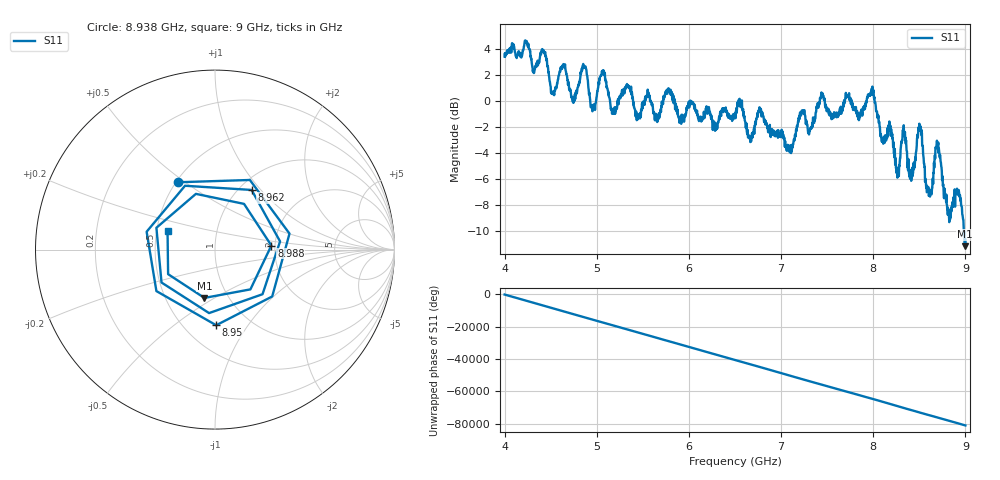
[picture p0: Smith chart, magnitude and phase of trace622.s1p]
! Created with skrf 1.8.0 (http://scikit-rf.org).
# Hz S RI R 50.0
!freq ReS11 ImS11
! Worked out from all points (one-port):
!   1601 points, 4 GHz to 9 GHz, reference 50 ohm
!   lowest |S11| = -11.2 dB at 8.994 GHz (marker M1), VSWR 1.76, Z = 38.7 - j22.5 ohm
!   |S11| at or under -10 dB: 8.982328 GHz to end of sweep
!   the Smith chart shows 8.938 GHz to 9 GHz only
!   S11 on the Smith chart (normalised r, x): 8.938 GHz: 0.51, +0.47; 8.95 GHz: 0.71, -0.72; 8.962 GHz: 1.14, +0.89; 8.988 GHz: 1.91, +0.10; 9 GHz: 0.57, +0.13
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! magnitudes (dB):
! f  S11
! 4 GHz  3.4
! 4.425 GHz  3.9
! 4.528 GHz  0.5
! 4.625 GHz  2.7
! 4.744 GHz  0.3
! 4.862 GHz  2.7
! 4.956 GHz  -0.5
! 5.062 GHz  2.3
! 5.25 GHz  0.4
! 5.875 GHz  -1.0
! 6.5 GHz  -0.9
! 7.125 GHz  -3.6
! 7.228 GHz  -0.7
! 7.75 GHz  0.3
! 7.988 GHz  0.5
! 8.262 GHz  -5.9
! 8.325 GHz  -2.4
! 8.375 GHz  -4.7
! 8.503 GHz  -2.1
! 8.6 GHz  -6.8
! 8.7 GHz  -3.2
! 8.816 GHz  -8.6
! 8.938 GHz  -7.4
! 8.95 GHz  -7.5
! 8.962 GHz  -8.2
! 8.988 GHz  -10.0
! 8.994 GHz  -11.2
! 9 GHz  -10.9
